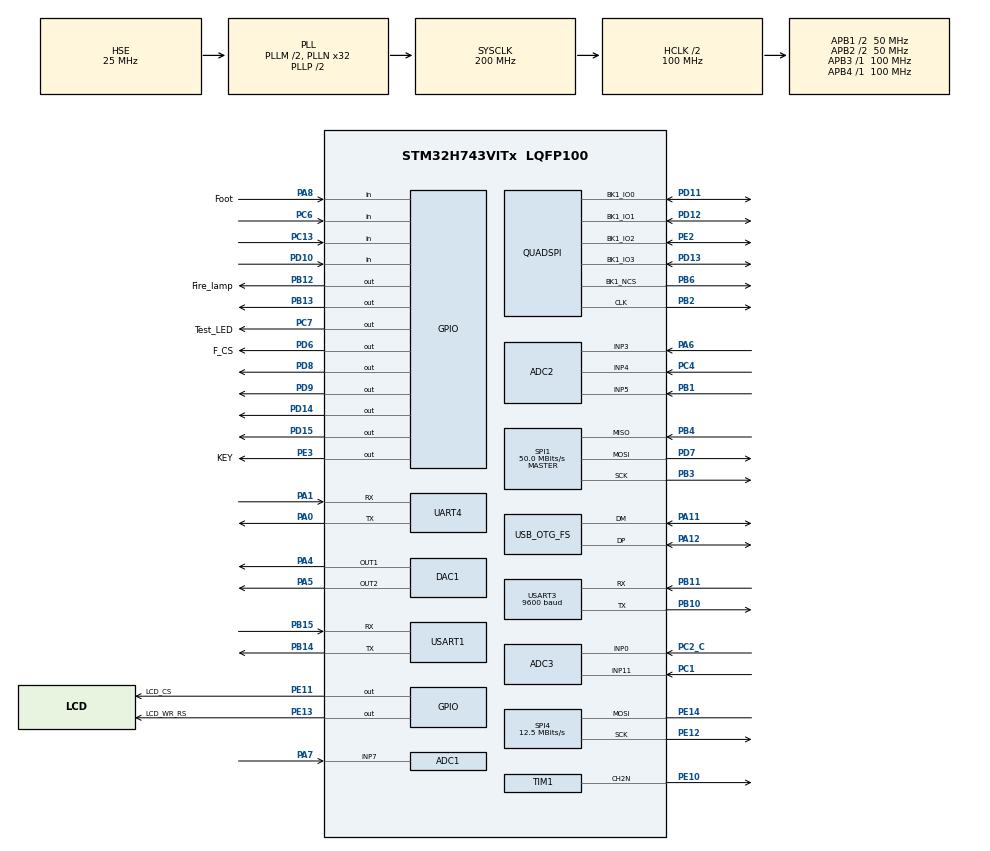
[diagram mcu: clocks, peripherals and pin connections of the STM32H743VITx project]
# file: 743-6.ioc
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ADC1.Channel-3\#ChannelRegularConversion=ADC_CHANNEL_7
ADC1.ClockPrescaler=ADC_CLOCK_ASYNC_DIV4
ADC1.NbrOfConversionFlag=1
ADC1.OffsetNumber-3\#ChannelRegularConversion=ADC_OFFSET_NONE
ADC1.OffsetSignedSaturation-3\#ChannelRegularConversion=DISABLE
ADC1.Rank-3\#ChannelRegularConversion=1
ADC1.SamplingTime-3\#ChannelRegularConversion=ADC_SAMPLETIME_1CYCLE_5
ADC1.master=1
ADC2.Channel-0\#ChannelRegularConversion=ADC_CHANNEL_3
ADC2.ClockPrescaler=ADC_CLOCK_ASYNC_DIV4
ADC2.NbrOfConversionFlag=1
ADC2.OffsetNumber-0\#ChannelRegularConversion=ADC_OFFSET_NONE
ADC2.OffsetSignedSaturation-0\#ChannelRegularConversion=DISABLE
ADC2.Rank-0\#ChannelRegularConversion=1
ADC2.SamplingTime-0\#ChannelRegularConversion=ADC_SAMPLETIME_1CYCLE_5
ADC3.Channel-1\#ChannelRegularConversion=ADC_CHANNEL_11
ADC3.ClockPrescaler=ADC_CLOCK_ASYNC_DIV4
ADC3.NbrOfConversionFlag=1
ADC3.OffsetNumber-1\#ChannelRegularConversion=ADC_OFFSET_NONE
ADC3.OffsetSignedSaturation-1\#ChannelRegularConversion=DISABLE
ADC3.Rank-1\#ChannelRegularConversion=1
ADC3.SamplingTime-1\#ChannelRegularConversion=ADC_SAMPLETIME_1CYCLE_5
DAC1.DAC_Channel-DAC_OUT1_ExtAndInt=DAC_CHANNEL_1
DAC1.DAC_Channel-DAC_OUT2_ExtAndInt=DAC_CHANNEL_2
FREERTOS.Tasks01=defaultTask,0,128,StartDefaultTask,Default,NULL,Dynamic,NULL,NULL;myTask02,0,256,StartTask02,Default,NULL,Dynamic,NULL,NULL;myTask03,0,128,StartTask03,Default,NULL,Dynamic,NULL,NULL;myTask04,0,128,StartTask04,Default,NULL,Dynamic,NULL,NULL;myTask05,0,128,StartTask05,Default,NULL,Dynamic,NULL,NULL;myTask06,0,128,StartTask06,Default,NULL,Dynamic,NULL,NULL;myTask07,0,128,StartTask07,Default,NULL,Dynamic,NULL,NULL;myTask08,0,128,StartTask08,Default,NULL,Dynamic,NULL,NULL
FREERTOS.configUSE_NEWLIB_REENTRANT=1
Mcu.Family=STM32H7
Mcu.Name=STM32H743VITx
Mcu.Package=LQFP100
NVIC.OTG_FS_IRQn=true\:5\:0\:true\:false\:true\:true\:false\:true
NVIC.PriorityGroup=NVIC_PRIORITYGROUP_4
NVIC.TIM17_IRQn=true\:15\:0\:false\:false\:true\:false\:false\:true
NVIC.TimeBase=TIM17_IRQn
NVIC.TimeBaseIP=TIM17
NVIC.UART4_IRQn=true\:5\:0\:false\:true\:true\:3\:true\:true\:true
NVIC.USART1_IRQn=true\:5\:0\:false\:true\:true\:1\:true\:true\:true
NVIC.USART3_IRQn=true\:5\:0\:false\:true\:true\:2\:true\:true\:true
PA0.Mode=Asynchronous
PA0.Signal=UART4_TX
PA1.Mode=Asynchronous
PA1.Signal=UART4_RX
PA11.Mode=Device_Only
PA11.Signal=USB_OTG_FS_DM
PA12.Mode=Device_Only
PA12.Signal=USB_OTG_FS_DP
PA13\ (JTMS/SWDIO).Mode=Serial_Wire
PA13\ (JTMS/SWDIO).Signal=DEBUG_JTMS-SWDIO
PA14\ (JTCK/SWCLK).Mode=Serial_Wire
PA14\ (JTCK/SWCLK).Signal=DEBUG_JTCK-SWCLK
PA4.Signal=COMP_DAC11_group
PA5.Signal=COMP_DAC12_group
PA6.Signal=ADCx_INP3
PA7.Signal=ADCx_INP7
PA8.GPIO_Label=Foot
PA8.Signal=GPIO_Input
PB1.Signal=ADCx_INP5
PB10.Mode=Asynchronous
PB10.Signal=USART3_TX
PB11.Mode=Asynchronous
PB11.Signal=USART3_RX
PB12.GPIO_Label=Fire_lamp
PB12.Signal=GPIO_Output
PB13.GPIO_PuPd=GPIO_PULLUP
PB13.Signal=GPIO_Output
PB14.Mode=Asynchronous
PB14.Signal=USART1_TX
PB15.Mode=Asynchronous
PB15.Signal=USART1_RX
PB2.GPIO_Speed=GPIO_SPEED_FREQ_VERY_HIGH
PB2.Mode=Single Bank 1
PB2.Signal=QUADSPI_CLK
PB3\ (JTDO/TRACESWO).GPIO_Speed=GPIO_SPEED_FREQ_MEDIUM
PB3\ (JTDO/TRACESWO).Mode=Full_Duplex_Master
PB3\ (JTDO/TRACESWO).Signal=SPI1_SCK
PB4\ (NJTRST).GPIO_Speed=GPIO_SPEED_FREQ_MEDIUM
PB4\ (NJTRST).Mode=Full_Duplex_Master
PB4\ (NJTRST).Signal=SPI1_MISO
PB6.GPIO_FM6=SYSCFG_PMCR_I2C_PB6_FMP
PB6.GPIO_Speed=GPIO_SPEED_FREQ_VERY_HIGH
PB6.Mode=Single Bank 1
PB6.Signal=QUADSPI_BK1_NCS
PC1.Signal=ADCx_INP11
PC10.Signal=SDMMC1_D2
PC11.Signal=SDMMC1_D3
PC12.Signal=SDMMC1_CK
PC13.Signal=GPIO_Input
PC14-OSC32_IN\ (OSC32_IN).Mode=LSE-External-Oscillator
PC14-OSC32_IN\ (OSC32_IN).Signal=RCC_OSC32_IN
PC15-OSC32_OUT\ (OSC32_OUT).Mode=LSE-External-Oscillator
PC15-OSC32_OUT\ (OSC32_OUT).Signal=RCC_OSC32_OUT
PC2_C.Mode=IN0-Single-Ended
PC2_C.Signal=ADC3_INP0
PC4.Signal=ADCx_INP4
PC6.Signal=GPIO_Input
PC7.GPIO_Label=Test_LED
PC7.GPIO_PuPd=GPIO_PULLDOWN
PC7.PinState=GPIO_PIN_RESET
PC7.Signal=GPIO_Output
PC8.Signal=SDMMC1_D0
PC9.Signal=SDMMC1_D1
PD10.Signal=GPIO_Input
PD11.GPIO_Speed=GPIO_SPEED_FREQ_VERY_HIGH
PD11.Mode=Single Bank 1
PD11.Signal=QUADSPI_BK1_IO0
PD12.GPIO_Speed=GPIO_SPEED_FREQ_VERY_HIGH
PD12.Mode=Single Bank 1
PD12.Signal=QUADSPI_BK1_IO1
PD13.GPIO_Speed=GPIO_SPEED_FREQ_VERY_HIGH
PD13.Mode=Single Bank 1
PD13.Signal=QUADSPI_BK1_IO3
PD14.Signal=GPIO_Output
PD15.Signal=GPIO_Output
PD2.Signal=SDMMC1_CMD
PD6.GPIO_Label=F_CS
PD6.GPIO_Speed=GPIO_SPEED_FREQ_VERY_HIGH
PD6.PinState=GPIO_PIN_SET
PD6.Signal=GPIO_Output
PD7.GPIO_Speed=GPIO_SPEED_FREQ_MEDIUM
PD7.Mode=Full_Duplex_Master
PD7.Signal=SPI1_MOSI
PD8.Signal=GPIO_Output
PD9.Signal=GPIO_Output
PE10.Mode=PWM Generation2 CH2N
PE10.Signal=TIM1_CH2N
PE11.GPIO_Label=LCD_CS
PE11.GPIO_Speed=GPIO_SPEED_FREQ_VERY_HIGH
PE11.PinState=GPIO_PIN_SET
PE11.Signal=GPIO_Output
PE12.GPIO_Speed=GPIO_SPEED_FREQ_MEDIUM
PE12.Mode=Simplex_Bidirectional_Master
PE12.Signal=SPI4_SCK
PE13.GPIO_Label=LCD_WR_RS
PE13.GPIO_Speed=GPIO_SPEED_FREQ_VERY_HIGH
PE13.PinState=GPIO_PIN_SET
PE13.Signal=GPIO_Output
PE14.GPIO_Speed=GPIO_SPEED_FREQ_MEDIUM
PE14.Mode=Simplex_Bidirectional_Master
PE14.Signal=SPI4_MOSI
PE2.GPIO_Speed=GPIO_SPEED_FREQ_VERY_HIGH
PE2.Mode=Single Bank 1
PE2.Signal=QUADSPI_BK1_IO2
PE3.GPIO_Label=KEY
PE3.Signal=GPIO_Output
PH0-OSC_IN\ (PH0).Mode=HSE-External-Oscillator
PH0-OSC_IN\ (PH0).Signal=RCC_OSC_IN
PH1-OSC_OUT\ (PH1).Mode=HSE-External-Oscillator
PH1-OSC_OUT\ (PH1).Signal=RCC_OSC_OUT
ProjectManager.HeapSize=0x2000
ProjectManager.StackSize=0x2000
ProjectManager.TargetToolchain=STM32CubeIDE
QUADSPI.ChipSelectHighTime=QSPI_CS_HIGH_TIME_3_CYCLE
QUADSPI.ClockMode=QSPI_CLOCK_MODE_3
QUADSPI.ClockPrescaler=2-1
QUADSPI.FlashSize=23-1
QUADSPI.SampleShifting=QSPI_SAMPLE_SHIFTING_HALFCYCLE
RCC.ADCFreq_Value=37500000
RCC.APB1Freq_Value=50000000
RCC.APB2Freq_Value=50000000
RCC.APB3Freq_Value=100000000
RCC.APB4Freq_Value=100000000
RCC.CortexFreq_Value=200000000
RCC.D2PPRE1=RCC_APB1_DIV2
RCC.D2PPRE2=RCC_APB2_DIV2
RCC.DIVM1=2
RCC.DIVM2=2
RCC.DIVM3=2
RCC.DIVN1=32
RCC.DIVN2=12
RCC.DIVN3=12
RCC.DIVP2=4
RCC.DIVP3=5
RCC.DIVQ1=4
RCC.DIVQ3=3
RCC.HCLKFreq_Value=100000000
RCC.HPRE=RCC_HCLK_DIV2
RCC.PLL2FRACN=0
RCC.PLL3FRACN=0
RCC.PLLFRACN=0
RCC.PLLSourceVirtual=RCC_PLLSOURCE_HSE
RCC.RTCClockSelection=RCC_RTCCLKSOURCE_LSE
RCC.SYSCLKFreq_VALUE=200000000
RCC.SYSCLKSource=RCC_SYSCLKSOURCE_PLLCLK
RCC.Spi45ClockSelection=RCC_SPI45CLKSOURCE_PLL3
RCC.SupplySource=PWR_LDO_SUPPLY
RCC.USBCLockSelection=RCC_USBCLKSOURCE_PLL3
RCC.USBFreq_Value=50000000
RTC.HourFormat=RTC_HOURFORMAT_12
SH.ADCx_INP11.0=ADC3_INP11,IN11-Single-Ended
SH.ADCx_INP3.0=ADC2_INP3,IN3-Single-Ended
SH.ADCx_INP4.0=ADC2_INP4,IN4-Single-Ended
SH.ADCx_INP5.0=ADC2_INP5,IN5-Single-Ended
SH.ADCx_INP7.0=ADC1_INP7,IN7-Single-Ended
SH.COMP_DAC11_group.0=DAC1_OUT1,DAC_OUT1_ExtAndInt
SH.COMP_DAC12_group.0=DAC1_OUT2,DAC_OUT2_ExtAndInt
SPI1.BaudRatePrescaler=SPI_BAUDRATEPRESCALER_2
SPI1.CLKPolarity=SPI_POLARITY_LOW
SPI1.CalculateBaudRate=50.0 MBits/s
SPI1.DataSize=SPI_DATASIZE_8BIT
SPI1.Direction=SPI_DIRECTION_2LINES
SPI1.Mode=SPI_MODE_MASTER
SPI1.VirtualType=VM_MASTER
SPI4.BaudRatePrescaler=SPI_BAUDRATEPRESCALER_4
SPI4.CLKPolarity=SPI_POLARITY_LOW
SPI4.CalculateBaudRate=12.5 MBits/s
SPI4.DataSize=SPI_DATASIZE_8BIT
SPI4.Direction=SPI_DIRECTION_1LINE
SPI4.Mode=SPI_MODE_MASTER
SPI4.VirtualType=VM_MASTER
TIM1.Channel-PWM\ Generation2\ CH2N=TIM_CHANNEL_2
TIM1.OCNPolarity_2=TIM_OCNPOLARITY_LOW
TIM1.Period=100-1
TIM1.Prescaler=120-1
USART1.VirtualMode-Asynchronous=VM_ASYNC
USART3.BaudRate=9600
USART3.VirtualMode-Asynchronous=VM_ASYNC
USB_DEVICE.CLASS_NAME_FS=CDC
USB_DEVICE.VirtualMode-CDC_FS=Cdc
USB_DEVICE.VirtualModeFS=Cdc_FS
USB_OTG_FS.VirtualMode=Device_Only
USB_OTG_FS.dma_enable=ENABLE
VP_FREERTOS_VS_CMSIS_V1.Mode=CMSIS_V1
VP_RTC_VS_RTC_Activate.Mode=RTC_Enabled
VP_RTC_VS_RTC_Calendar.Mode=RTC_Calendar
VP_SYS_VS_tim17.Mode=TIM17
VP_USB_DEVICE_VS_USB_DEVICE_CDC_FS.Mode=CDC_FS
board=custom

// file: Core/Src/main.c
/* USER CODE BEGIN Header */
/**
  ******************************************************************************
  * @file           : main.c
  * @brief          : Main program body
  ******************************************************************************
  * @attention
  *
  * <h2><center>&copy; Copyright (c) 2021 STMicroelectronics.
  * All rights reserved.</center></h2>
  *
  * This software component is licensed by ST under Ultimate Liberty license
  * SLA0044, the "License"; You may not use this file except in compliance with
  * the License. You may obtain a copy of the License at:
  *                             www.st.com/SLA0044
  *
  ******************************************************************************
  */
/* USER CODE END Header */
#include "main.h"
#include "cmsis_os.h"
#include "adc.h"
#include "dac.h"
#include "rtc.h"
#include "spi.h"
#include "tim.h"
#include "usart.h"
#include "usb_device.h"
#include "gpio.h"

/* USER CODE BEGIN Includes */
//#include "lcd.h"
#include <stdio.h>        // printf ?��?��?���????? ?��?��
#include <usbd_cdc_if.h>  // USB ?��?�� ?��?�� ?��?��?���????? ?��?��
#include "sound.h"
#include "w25qxx_qspi.h"

#include <time.h>
#include <stdlib.h>
#include <string.h>
//#include "parameter.h"
//#include "dfplayer_mini.h"
/* USER CODE END Includes */

/* USER CODE BEGIN PTD */
//void init_uart(uart_t *u);

/* USER CODE END PTD */

void SystemClock_Config(void);
void PeriphCommonClock_Config(void);
void MX_FREERTOS_Init(void);
static void MX_NVIC_Init(void);
/* USER CODE BEGIN PFP */

//printf, putchar, puts ?��?��?�� ?��출되?�� ?��?��
int _write(int fd, char *str, int len) {
	CDC_Transmit_FS((uint8_t*)str, len);
	return len;
}

/*
int _write(int file, unsigned char* p, int len)
{
	HAL_StatusTypeDef status= HAL_UART_Transmit(&huart3, p, len,100);
	return(status == HAL_OK? len :0);
}
*/
/* USER CODE END PFP */

/* USER CODE BEGIN 0 */
static void CPU_CACHE_Enable(void)
{
  /* Enable I-Cache */
  SCB_EnableICache();

  /* Enable D-Cache */
  SCB_EnableDCache();
}

static void LED_Blink(uint32_t Hdelay,uint32_t Ldelay)
{
	HAL_GPIO_WritePin(KEY_GPIO_Port,KEY_Pin,GPIO_PIN_SET);
	HAL_Delay(Hdelay - 1);
	HAL_GPIO_WritePin(KEY_GPIO_Port,KEY_Pin,GPIO_PIN_RESET);
	HAL_Delay(Ldelay-1);
}

void init_uart(uart_t *u)
{
	u->head = 0;
	u->tail = 0;
	memset(u->buffer, 0, sizeof(u->buffer));
}

/**
  * @brief  Get the current time and date.
  * @param
  * @retval None
  */

uint8_t wdata[4096] = {0};
uint8_t rdata[4096] = {0};
/* USER CODE END 0 */

int main(void)
{
  /* USER CODE BEGIN 1 */

	HAL_Init();

#ifdef W25Qxx
  SCB->VTOR = QSPI_BASE;
#endif
//MPU_Config();
//CPU_CACHE_Enable();

  /* USER CODE END 1 */

  /* MCU Configuration--------------------------------------------------------*/

  /* Reset of all peripherals, Initializes the Flash interface and the Systick. */
  HAL_Init();

  /* Configure the system clock */
  SystemClock_Config();

/* Configure the peripherals common clocks */
  PeriphCommonClock_Config();

  /* USER CODE BEGIN SysInit */
	uint8_t text[20];
	RTC_DateTypeDef sdatestructureget  ;
	RTC_TimeTypeDef stimestructureget  ;
  /* USER CODE END SysInit */

  /* Initialize all configured peripherals */
  MX_GPIO_Init();
  MX_RTC_Init();
  MX_SPI1_Init();
  MX_SPI4_Init();
  MX_TIM1_Init();
  MX_UART4_Init();
  MX_USART1_UART_Init();
  MX_USART3_UART_Init();
  MX_ADC3_Init();
  MX_ADC2_Init();
  MX_DAC1_Init();
  MX_ADC1_Init();

  /* Initialize interrupts */
  MX_NVIC_Init();
  /* USER CODE BEGIN 2 */
	init_uart(&uart_1);
	init_uart(&uart_4);
	HAL_UART_Receive_IT(&huart1, &rx1_data, 1);
	HAL_UART_Receive_IT(&huart4, &rx4_data, 1);

	printf("Hello \n\r");

	DF_Init(15);
	DF_PlayFromStart();
	DF_Volume(15);

	  w25qxx_Init();

	  for(int i=100;i>0;i--){
	  	wdata[i] = i;
	  }
	  //W25qxx_Write(wdata, 0, 100);

	  W25qxx_EraseSector(0);
	  W25qxx_PageProgram(wdata, 0, 100);
	  W25qxx_Read(rdata, 0, 100);

 	LCD_Test();

  /* USER CODE END 2 */

  /* Call init function for freertos objects (in freertos.c) */
  MX_FREERTOS_Init();
  /* Start scheduler */
  osKernelStart();

  /* We should never get here as control is now taken by the scheduler */
  /* Infinite loop */
  while (1)
  {

  }
}

void SystemClock_Config(void)
{
  RCC_OscInitTypeDef RCC_OscInitStruct = {0};
  RCC_ClkInitTypeDef RCC_ClkInitStruct = {0};

  /** Supply configuration update enable
  */
  HAL_PWREx_ConfigSupply(PWR_LDO_SUPPLY);
  /** Configure the main internal regulator output voltage
  */
  __HAL_PWR_VOLTAGESCALING_CONFIG(PWR_REGULATOR_VOLTAGE_SCALE3);

  while(!__HAL_PWR_GET_FLAG(PWR_FLAG_VOSRDY)) {}
  /** Configure LSE Drive Capability
  */
  HAL_PWR_EnableBkUpAccess();
  __HAL_RCC_LSEDRIVE_CONFIG(RCC_LSEDRIVE_LOW);
  /** Macro to configure the PLL clock source
  */
  __HAL_RCC_PLL_PLLSOURCE_CONFIG(RCC_PLLSOURCE_HSE);
  /** Initializes the RCC Oscillators according to the specified parameters
  * in the RCC_OscInitTypeDef structure.
  */
  RCC_OscInitStruct.OscillatorType = RCC_OSCILLATORTYPE_HSE|RCC_OSCILLATORTYPE_LSE;
  RCC_OscInitStruct.HSEState = RCC_HSE_ON;
  RCC_OscInitStruct.LSEState = RCC_LSE_ON;
  RCC_OscInitStruct.PLL.PLLState = RCC_PLL_ON;
  RCC_OscInitStruct.PLL.PLLSource = RCC_PLLSOURCE_HSE;
  RCC_OscInitStruct.PLL.PLLM = 2;
  RCC_OscInitStruct.PLL.PLLN = 32;
  RCC_OscInitStruct.PLL.PLLP = 2;
  RCC_OscInitStruct.PLL.PLLQ = 4;
  RCC_OscInitStruct.PLL.PLLR = 2;
  RCC_OscInitStruct.PLL.PLLRGE = RCC_PLL1VCIRANGE_3;
  RCC_OscInitStruct.PLL.PLLVCOSEL = RCC_PLL1VCOWIDE;
  RCC_OscInitStruct.PLL.PLLFRACN = 0;
  if (HAL_RCC_OscConfig(&RCC_OscInitStruct) != HAL_OK)
  {
    Error_Handler();
  }
  /** Initializes the CPU, AHB and APB buses clocks
  */
  RCC_ClkInitStruct.ClockType = RCC_CLOCKTYPE_HCLK|RCC_CLOCKTYPE_SYSCLK
                              |RCC_CLOCKTYPE_PCLK1|RCC_CLOCKTYPE_PCLK2
                              |RCC_CLOCKTYPE_D3PCLK1|RCC_CLOCKTYPE_D1PCLK1;
  RCC_ClkInitStruct.SYSCLKSource = RCC_SYSCLKSOURCE_PLLCLK;
  RCC_ClkInitStruct.SYSCLKDivider = RCC_SYSCLK_DIV1;
  RCC_ClkInitStruct.AHBCLKDivider = RCC_HCLK_DIV2;
  RCC_ClkInitStruct.APB3CLKDivider = RCC_APB3_DIV1;
  RCC_ClkInitStruct.APB1CLKDivider = RCC_APB1_DIV2;
  RCC_ClkInitStruct.APB2CLKDivider = RCC_APB2_DIV2;
  RCC_ClkInitStruct.APB4CLKDivider = RCC_APB4_DIV1;

  if (HAL_RCC_ClockConfig(&RCC_ClkInitStruct, FLASH_LATENCY_2) != HAL_OK)
  {
    Error_Handler();
  }
}

void PeriphCommonClock_Config(void)
{
  RCC_PeriphCLKInitTypeDef PeriphClkInitStruct = {0};

  /** Initializes the peripherals clock
  */
  PeriphClkInitStruct.PeriphClockSelection = RCC_PERIPHCLK_USB|RCC_PERIPHCLK_ADC
                              |RCC_PERIPHCLK_SPI4;
  PeriphClkInitStruct.PLL2.PLL2M = 2;
  PeriphClkInitStruct.PLL2.PLL2N = 12;
  PeriphClkInitStruct.PLL2.PLL2P = 4;
  PeriphClkInitStruct.PLL2.PLL2Q = 2;
  PeriphClkInitStruct.PLL2.PLL2R = 2;
  PeriphClkInitStruct.PLL2.PLL2RGE = RCC_PLL2VCIRANGE_3;
  PeriphClkInitStruct.PLL2.PLL2VCOSEL = RCC_PLL2VCOMEDIUM;
  PeriphClkInitStruct.PLL2.PLL2FRACN = 0;
  PeriphClkInitStruct.PLL3.PLL3M = 2;
  PeriphClkInitStruct.PLL3.PLL3N = 12;
  PeriphClkInitStruct.PLL3.PLL3P = 5;
  PeriphClkInitStruct.PLL3.PLL3Q = 3;
  PeriphClkInitStruct.PLL3.PLL3R = 2;
  PeriphClkInitStruct.PLL3.PLL3RGE = RCC_PLL3VCIRANGE_3;
  PeriphClkInitStruct.PLL3.PLL3VCOSEL = RCC_PLL3VCOMEDIUM;
  PeriphClkInitStruct.PLL3.PLL3FRACN = 0;
  PeriphClkInitStruct.Spi45ClockSelection = RCC_SPI45CLKSOURCE_PLL3;
  PeriphClkInitStruct.UsbClockSelection = RCC_USBCLKSOURCE_PLL3;
  PeriphClkInitStruct.AdcClockSelection = RCC_ADCCLKSOURCE_PLL2;
  if (HAL_RCCEx_PeriphCLKConfig(&PeriphClkInitStruct) != HAL_OK)
  {
    Error_Handler();
  }
}

/**
  * @brief NVIC Configuration.
  * @retval None
  */
static void MX_NVIC_Init(void)
{
  /* USART1_IRQn interrupt configuration */
  HAL_NVIC_SetPriority(USART1_IRQn, 5, 0);
  HAL_NVIC_EnableIRQ(USART1_IRQn);
  /* USART3_IRQn interrupt configuration */
  HAL_NVIC_SetPriority(USART3_IRQn, 5, 0);
  HAL_NVIC_EnableIRQ(USART3_IRQn);
  /* UART4_IRQn interrupt configuration */
  HAL_NVIC_SetPriority(UART4_IRQn, 5, 0);
  HAL_NVIC_EnableIRQ(UART4_IRQn);
}

void HAL_TIM_PeriodElapsedCallback(TIM_HandleTypeDef *htim)
{
  if (htim->Instance == TIM17) {
    HAL_IncTick();
  }
}

void Error_Handler(void)
{
  __disable_irq();
  while (1)
  {
  }
}

/************************ (C) COPYRIGHT STMicroelectronics *****END OF FILE****/

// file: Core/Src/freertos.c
/* USER CODE BEGIN Header */
/**
  ******************************************************************************
  * File Name          : freertos.c
  * Description        : Code for freertos applications
  ******************************************************************************
  * @attention
  *
  * <h2><center>&copy; Copyright (c) 2021 STMicroelectronics.
  * All rights reserved.</center></h2>
  *
  * This software component is licensed by ST under Ultimate Liberty license
  * SLA0044, the "License"; You may not use this file except in compliance with
  * the License. You may obtain a copy of the License at:
  *                             www.st.com/SLA0044
  *
  ******************************************************************************
  */
/* USER CODE END Header */

#include "FreeRTOS.h"
#include "task.h"
#include "main.h"
#include "cmsis_os.h"

/* USER CODE BEGIN Includes */
#include "rtc.h"
#include "usart.h"
#include "parameter.h"
#include "hardware.h"
#include "sound.h"
//#include "stm32h7xx_hal_rtc.h"

/* USER CODE END Includes */

/* USER CODE BEGIN PTD */
	uint8_t text[20];
	RTC_DateTypeDef sdatestructureget  ;
	RTC_TimeTypeDef stimestructureget  ;
/* USER CODE END PTD */

/* USER CODE BEGIN PD */

	void push(uart_t *u, uint8_t data);
	uint8_t pop(uart_t *u);
	uint8_t isEmpty(uart_t *u);
	float ttt;
/* USER CODE END PD */

osThreadId defaultTaskHandle;
osThreadId myTask02Handle;
osThreadId myTask03Handle;
osThreadId myTask04Handle;
osThreadId myTask05Handle;
osThreadId myTask06Handle;
osThreadId myTask07Handle;
osThreadId myTask08Handle;

/* USER CODE BEGIN FunctionPrototypes */

static void RTC_CalendarShow(RTC_DateTypeDef *sdatestructureget,RTC_TimeTypeDef *stimestructureget)
{
   /* Both time and date must be obtained or RTC cannot be read next time */
  /* Get the RTC current Time */
  HAL_RTC_GetTime(&hrtc, stimestructureget, RTC_FORMAT_BIN);
  /* Get the RTC current Date */
  HAL_RTC_GetDate(&hrtc, sdatestructureget, RTC_FORMAT_BIN);
}

void clear_pw_circle(void)
{
	// Clear passwd counter
		GUI_key0[7] = 0;
	HAL_UART_Transmit(&huart1, GUI_key0, sizeof(GUI_key0), 100);
	GUI_key1[7] = 0;
	HAL_UART_Transmit(&huart1, GUI_key1, sizeof(GUI_key1), 100);
	GUI_key2[7] = 0;
	HAL_UART_Transmit(&huart1, GUI_key2, sizeof(GUI_key2), 100);
	GUI_key3[7] = 0;
	HAL_UART_Transmit(&huart1, GUI_key3, sizeof(GUI_key3), 100);
}

char  passwd[4], passwd_1[4]={1,2,3,4};
uint8_t passwd_count  ;
void passwd_verify(void)
{
	int8_t passwd_OK;

			switch(passwd_count){
			case(0):
				GUI_key0[7] = 1;
				HAL_UART_Transmit(&huart1, GUI_key0, sizeof(GUI_key0), 100);
				break;
			case(1):
				GUI_key1[7] = 1;
				HAL_UART_Transmit(&huart1, GUI_key1, sizeof(GUI_key1), 100);
				break;
			case(2):
				GUI_key2[7] = 1;
				HAL_UART_Transmit(&huart1, GUI_key2, sizeof(GUI_key2), 100);
				break;
			case(3):
				GUI_key3[7] = 1;
				HAL_UART_Transmit(&huart1, GUI_key3, sizeof(GUI_key3), 100);
				break;
			default:
				;
			}

			passwd_count++;

			if(passwd_count == 4){
				//passwd_count = 0;

				// Check pw is right or not
				for(int i=0;i<4;i++){
					if(passwd[i] == passwd_1[i]){
						passwd_OK++;
					}
					else
						passwd_OK--;
				}
			}

			if(passwd_OK == 4){
				DF_Play(S_ready);  //Ready it is OK();
				osDelay(100);
				passwd_count = 0;
				clear_pw_circle();
				HAL_UART_Transmit(&huart1, GUI_main, sizeof(GUI_main), 100);//Call main page

				HAL_GPIO_WritePin(GPIOB, GPIO_PIN_13, GPIO_PIN_SET);
		 	}
 	 		else{
		  	 	DF_Play(S_Beek);  //Ready it is no();
		  	 	HAL_GPIO_WritePin(GPIOB, GPIO_PIN_13, GPIO_PIN_RESET);
		 	}

			if((passwd_count == 4)&&(passwd_OK != 4)){
				 DF_Play(S_boook);  //Ready it is OK();
				osDelay(100);
				passwd_count = 0;
				clear_pw_circle();
			}

			passwd_OK = 0;
}

void GUI_1400(void)
{
	if (!Ready)
	{ //STOP
		HAL_UART_Transmit(&huart1, GUI_stop, sizeof(GUI_stop), 100);
		Ready = 1;
		DF_Play(S_ready);  //Ready
		osDelay(10);
		HAL_GPIO_WritePin(GPIOB, GPIO_PIN_14, GPIO_PIN_RESET); //Interloc
		HAL_GPIO_WritePin(GPIOC, GPIO_PIN_0, GPIO_PIN_SET); // AKELA pointer
	}
	else if (Ready)
	{ //READY
		Ready = 0;
		DF_Play(S_stop);  //Stop
		osDelay(10);
//				// GUI_ready2stop();
	}
}

void GUI_1296(void)
{
	DF_Play(S_Beek);
	Monitor = 0;

	Stamp = 1;
	DF_Play(S_stamp);  //Stamp
	//  EEPROM_Read(Last_mode);  //save current mode
	// show_parameter_stamp();
	//  show_ST_key_value();
	// // GUI_ready2stop(); // clear "ready" state

	GUI_mon_Laser_ON[7] = 1; //Laser OFF
	HAL_UART_Transmit(&huart1, GUI_mon_Laser_ON, sizeof(GUI_mon_Laser_ON), 100);

	// Stop "Laser ON" over Monitor mode
//	HAL_DAC_SetValue(&hdac, DAC_CHANNEL_1, DAC_ALIGN_12B_R, 0);
//	HAL_DAC_Stop(&hdac, DAC_CHANNEL_1);
	HAL_GPIO_WritePin( GPIOB, GPIO_PIN_14, GPIO_PIN_SET); // Interlock stop
	HAL_GPIO_WritePin( GPIOA, GPIO_PIN_7, GPIO_PIN_RESET); // Enable Stop
	HAL_GPIO_WritePin( GPIOB, GPIO_PIN_2, GPIO_PIN_RESET); //Fire lamp Off

	GUI_sum_mode[7] = 1;
	HAL_UART_Transmit(&huart1, GUI_sum_mode,sizeof(GUI_sum_mode), 100);

	vTaskSuspend(myTask05Handle);	 // STOP DefaultTask
}

void GUI_1298(void)
{
	DF_Play(S_Beek);
	Monitor = true;
	// // GUI_ready2stop(); // clear "ready" state

	GUI_mon_Laser_ON[7] = 1;  //Laser OFF
	HAL_UART_Transmit(&huart1, GUI_mon_Laser_ON, sizeof(GUI_mon_Laser_ON), 100);

	GUI_mon_power[6] = 0;     //Start monitor page with Power = 0
	GUI_mon_power[7] = 0;
	HAL_UART_Transmit(&huart1, GUI_mon_power, sizeof(GUI_mon_power),100);//show power0~6

	// Stop "Laser ON" over Monitor mode
//		HAL_DAC_SetValue(&hdac, DAC_CHANNEL_1, DAC_ALIGN_12B_R, 0);
//		HAL_DAC_Stop(&hdac, DAC_CHANNEL_1);
	HAL_GPIO_WritePin( GPIOB, GPIO_PIN_14, GPIO_PIN_SET); // Interlock stop
	HAL_GPIO_WritePin( GPIOA, GPIO_PIN_7, GPIO_PIN_RESET); // Enable Stop
	HAL_GPIO_WritePin( GPIOB, GPIO_PIN_2, GPIO_PIN_RESET); //Fire lamp Off

	vTaskResume(myTask05Handle);   // Strat Monitoring Task(5)
}

void GUI_1340(void)
{
	if (!Laser_ON)
	{
		GUI_mon_Laser_ON[7] = 0;
		HAL_UART_Transmit(&huart1, GUI_mon_Laser_ON, sizeof(GUI_mon_Laser_ON), 100);
		Laser_ON = 1;
		DF_Play(S_ready);  //Ready
		osDelay(10);

		HAL_GPIO_WritePin(GPIOB, GPIO_PIN_14, GPIO_PIN_RESET); //Interloc
		HAL_GPIO_WritePin(GPIOC, GPIO_PIN_0, GPIO_PIN_SET); // AKELA pointer

	}
	else
	{
		GUI_mon_Laser_ON[7] = 1;
		HAL_UART_Transmit(&huart1, GUI_mon_Laser_ON, sizeof(GUI_mon_Laser_ON), 100);
		Laser_ON = 0;
		DF_Play(S_stop);  //Stop
		osDelay(10);

		HAL_GPIO_WritePin( GPIOB, GPIO_PIN_14, GPIO_PIN_SET); //Interlock on
		HAL_GPIO_WritePin( GPIOA, GPIO_PIN_7, 0); // Enable stop
		HAL_GPIO_WritePin( GPIOC, GPIO_PIN_0, 0); // AKELA pointer Off
	}
}

void GUI_1345(void)
{
	DF_Play(S_Beek);
	// 5*330 = 1650:최고 DAC �???????, ?��?�� HP?��?��?�� CW�??????? 5 W 출력?��, 330?? Cut&Try�??????? ?��?? �???????
	Power_DAC = ((Rx1_Buffer[7] << 8) + Rx1_Buffer[8])*330;  //0~2100
	GUI_mon_power[6] = Rx1_Buffer[7];  //Last_mpower_high
	GUI_mon_power[7] = Rx1_Buffer[8];  //Last_mpower_low (real)
//	HAL_UART_Transmit(&huart1, GUI_mon_power, sizeof(GUI_mon_power),100);//show power0~5

	//  EEPROM_Write(Last_mon_power_high, GUI_mon_power[6]);
	//  EEPROM_Write(Last_mon_power_low, GUI_mon_power[7]);

}

void GUI_1602(void)
{
	if (Sound)
	{
		GUI_sound[7] = 0;
		HAL_UART_Transmit(&huart1, GUI_sound, sizeof(GUI_sound),100);
		Sound = 0;
		DF_Play(S_sound);  //sound
		//  EEPROM_Write( Last_sound, Sound);
		DF_Volume(15);
	}
	else
	{
		GUI_sound[7] = 1;
		HAL_UART_Transmit(&huart1, GUI_sound, sizeof(GUI_sound),100);
		Sound = true;
		DF_Play(S_mute);  //mute
		//  EEPROM_Write( Last_sound, Sound);

		DF_Volume(0);
	}
//  EEPROM_Write( Last_sound, Sound);  //save current mode
}

void GUI_1603(void)
{
	if (Hand_foot)
	{
		GUI_foot[7] = 0;
		HAL_UART_Transmit(&huart1, GUI_foot, sizeof(GUI_foot), 100);
		Hand_foot = 0;
		DF_Play(S_hand);  //hand

		//  EEPROM_Write( Last_Hand_foot, Hand_foot);
	}
	else
	{
		GUI_foot[7] = 1;
		HAL_UART_Transmit(&huart1, GUI_foot, sizeof(GUI_foot), 100);
		Hand_foot = true;
		DF_Play(S_foot); //foot

		//  EEPROM_Write( Last_Hand_foot, Hand_foot);
	}
}

void GUI_1606(void)
{
	if (Count_energy)
	{
    	Count_energy = 0;
		DF_Play(S_total_energy);
		GUI_sum_mode[7] = 0;
		HAL_UART_Transmit(&huart1, GUI_sum_mode,sizeof(GUI_sum_mode), 100);
		//  EEPROM_Write( Last_Count_energy, Count_energy);
	}
	else
	{
		Count_energy = 1;
		DF_Play(S_total_count);
		GUI_sum_mode[7] = 1;
		HAL_UART_Transmit(&huart1, GUI_sum_mode,sizeof(GUI_sum_mode), 100);
		//  EEPROM_Write( Last_Count_energy, Count_energy);
	}
}

// RTC time setup from DWIN time input
void RTC_13A0(void)
{

}
/* USER CODE END FunctionPrototypes */

void StartDefaultTask(void const * argument);
void StartTask02(void const * argument);
void StartTask03(void const * argument);
void StartTask04(void const * argument);
void StartTask05(void const * argument);
void StartTask06(void const * argument);
void StartTask07(void const * argument);
void StartTask08(void const * argument);

extern void MX_USB_DEVICE_Init(void);
void MX_FREERTOS_Init(void); /* (MISRA C 2004 rule 8.1) */

/* GetIdleTaskMemory prototype (linked to static allocation support) */
void vApplicationGetIdleTaskMemory( StaticTask_t **ppxIdleTaskTCBBuffer, StackType_t **ppxIdleTaskStackBuffer, uint32_t *pulIdleTaskStackSize );

/* USER CODE BEGIN GET_IDLE_TASK_MEMORY */
static StaticTask_t xIdleTaskTCBBuffer;
static StackType_t xIdleStack[configMINIMAL_STACK_SIZE];

void vApplicationGetIdleTaskMemory( StaticTask_t **ppxIdleTaskTCBBuffer, StackType_t **ppxIdleTaskStackBuffer, uint32_t *pulIdleTaskStackSize )
{
  *ppxIdleTaskTCBBuffer = &xIdleTaskTCBBuffer;
  *ppxIdleTaskStackBuffer = &xIdleStack[0];
  *pulIdleTaskStackSize = configMINIMAL_STACK_SIZE;
  /* place for user code */
}

/* USER CODE END GET_IDLE_TASK_MEMORY */

void MX_FREERTOS_Init(void) {

  /* Create the thread(s) */
  /* definition and creation of defaultTask */
  osThreadDef(defaultTask, StartDefaultTask, osPriorityNormal, 0, 128);
  defaultTaskHandle = osThreadCreate(osThread(defaultTask), NULL);

  /* definition and creation of myTask02 */
  osThreadDef(myTask02, StartTask02, osPriorityNormal, 0, 256);
  myTask02Handle = osThreadCreate(osThread(myTask02), NULL);

  /* definition and creation of myTask03 */
  osThreadDef(myTask03, StartTask03, osPriorityNormal, 0, 128);
  myTask03Handle = osThreadCreate(osThread(myTask03), NULL);

  /* definition and creation of myTask04 */
  osThreadDef(myTask04, StartTask04, osPriorityNormal, 0, 128);
  myTask04Handle = osThreadCreate(osThread(myTask04), NULL);

  /* definition and creation of myTask05 */
  osThreadDef(myTask05, StartTask05, osPriorityNormal, 0, 128);
  myTask05Handle = osThreadCreate(osThread(myTask05), NULL);

  /* definition and creation of myTask06 */
  osThreadDef(myTask06, StartTask06, osPriorityNormal, 0, 128);
  myTask06Handle = osThreadCreate(osThread(myTask06), NULL);

  /* definition and creation of myTask07 */
  osThreadDef(myTask07, StartTask07, osPriorityNormal, 0, 128);
  myTask07Handle = osThreadCreate(osThread(myTask07), NULL);

  /* definition and creation of myTask08 */
  osThreadDef(myTask08, StartTask08, osPriorityNormal, 0, 128);
  myTask08Handle = osThreadCreate(osThread(myTask08), NULL);

}

void StartDefaultTask(void const * argument)
{
  /* init code for USB_DEVICE */
  MX_USB_DEVICE_Init();
  /* USER CODE BEGIN StartDefaultTask */
  /* Infinite loop */
  for(;;)
  {
		 HAL_GPIO_TogglePin( GPIOB, GPIO_PIN_12);
		 HAL_GPIO_TogglePin( GPIOE, GPIO_PIN_3);

	//	 HAL_UART_Transmit(&huart4, GUI_sum_mode,sizeof(GUI_sum_mode), 100);

    osDelay(50);
  }
  /* USER CODE END StartDefaultTask */
}

RTC_TimeTypeDef 	sTime = {0};
RTC_DateTypeDef 	sDate = {0};

void StartTask02(void const * argument)
{
  /* USER CODE BEGIN StartTask02 */
	/* Infinite loop */
	uint8_t Key_memo;
	uint16_t Dwin_mess;
	//	bool count_energy;
	Ready = true;   //Initial condition is STOP

	GUI_key0[7] = 0;
	HAL_UART_Transmit(&huart1, GUI_key0, sizeof(GUI_key0), 100);
	GUI_key1[7] = 0;
	HAL_UART_Transmit(&huart1, GUI_key1, sizeof(GUI_key1), 100);
	GUI_key2[7] = 0;
	HAL_UART_Transmit(&huart1, GUI_key2, sizeof(GUI_key2), 100);
	GUI_key3[7] = 0;
	HAL_UART_Transmit(&huart1, GUI_key3, sizeof(GUI_key3), 100);

	while (1)
	{
		if (Rx_recv)   //DWIN string is get completely
		{
			Rx_recv = 0;   //confirmed Rx_rec
			GUI_boot = true;

			Dwin_mess = (Rx1_Buffer[4] << 8) + Rx1_Buffer[5];

			osDelay(2);  // Remove repeat chattering
			Rx_recv = 0;

			switch (Dwin_mess)
			{
			//Take VP from receive data

			case (0x0F):     // Check LCD power on?
				GUI_boot = true;
			break;

			case (0x0014): //Read no of page on work
				page = Rx1_Buffer[8];
			break;
//////////////////////////////////////////////////////////////

			case (0x1500):  // Password Key detection
				passwd[passwd_count] = 0;
				passwd_verify();
			break;

			case (0x1502):  // Password Key detection
				passwd[passwd_count] = 1;
				passwd_verify();
			break;

			case (0x1504):  // Password Key detection
				passwd[passwd_count] = 2;
				passwd_verify();
			break;

			case (0x1506):  // Password Key detection
				passwd[passwd_count] = 3;
				passwd_verify();
			break;

			case (0x1508):  // Password Key detection
				passwd[passwd_count] = 4;
				passwd_verify();
			break;

			case (0x1510):  // Password Key detection
				passwd[passwd_count] = 5;
				passwd_verify();
			break;

			case (0x1512):  // Password Key detection
				passwd[passwd_count] = 6;
				passwd_verify();
			break;

			case (0x1514):  // Password Key detection
				passwd[passwd_count] = 7;
				passwd_verify();
			break;

			case (0x1516):  // Password Key detection
				passwd[passwd_count] = 8;
				passwd_verify();
			break;

			case (0x1518):  // Password Key detection
				passwd[passwd_count] = 9;
				passwd_verify();
			break;

////////////////////////////////////////////////

			case (0x1400):  //STOP, READY  Variable GUI
				GUI_1400();
			break;

			case (0x1240):  //TONING Page switching
				Stamp = 0;
				DF_Play(S_toning); //Toning sound
				//  EEPROM_Read(Last_mode); //save current mode
				// // show_parameter_toning();
				//  show_ST_key_value();
				// // GUI_ready2stop();
			break;

			case (0x1250):  //STAMP page switching
				Stamp = 1;
				DF_Play(S_stamp);  //Stamp
				//  EEPROM_Read(Last_mode);  //save current mode
				// show_parameter_stamp();
				//  show_ST_key_value();
				// // GUI_ready2stop();
			break;

			// ===  Jump to Stamp mode from Monitor mode
			case (0x1296):
				GUI_1296();
			break;

			// ===  Move to Monitor mode
			case (0x1298):
				GUI_1298();
			break;

			// ===  Laser ON at Monitor mode
			case (0x1340):
				GUI_1340();
			break;

			// ===  Increament & decrement adjustment at Monitoring
			case (0x1345):
				GUI_1345();
			break;

			// === Time setup
			case (0x13AC):
					HAL_UART_Transmit(&huart1, RTC_read,sizeof(RTC_read), 100); //RTC READ, year-month-date-time-minute
			break;

			case (0x13A0):
				MX_RTC_Init();

				sDate.Year  =   ((Rx1_Buffer[8]/10) *16)  + (Rx1_Buffer[8]%10) ;
				sDate.Month =     Rx1_Buffer[12] ;
				sDate.Date  =   ((Rx1_Buffer[16]/10) *16) + (Rx1_Buffer[16]%10) ;
				 if (HAL_RTC_SetDate(&hrtc, &sDate, RTC_FORMAT_BCD) != HAL_OK)
				 {
				   Error_Handler();
				 }

					sTime.Hours   = ((Rx1_Buffer[20]/10) *16) + (Rx1_Buffer[20]%10) ;
					sTime.Minutes = ((Rx1_Buffer[24]/10) *16) + (Rx1_Buffer[24]%10) ;
					sTime.Seconds = ((Rx1_Buffer[28]/10) *16) + (Rx1_Buffer[28]%10) ;
				    if (HAL_RTC_SetTime(&hrtc, &sTime, RTC_FORMAT_BCD) != HAL_OK)
				    {
				      Error_Handler();
				    }
			break;

			///////////////////
			case (0x1300):  //  Increament & decrement adjustment at STAMP
			DF_Play(S_Beek);
			//  EEPROM_Write( Last_power_high, Rx1_Buffer[7]);
			//  EEPROM_Write( Last_power_low, Rx1_Buffer[8]);
			Power_DAC = (Rx1_Buffer[7] << 8) + Rx1_Buffer[8];  ///////
			// // GUI_ready2stop();
			break;

			case (0x1305):  // Increament & decrement adjustment at Toning
			DF_Play(S_Beek);
			//  EEPROM_Write( Last_power_high_t, Rx1_Buffer[7]);
			//  EEPROM_Write( Last_power_low_t, Rx1_Buffer[8]);
			Power_DAC_t = (Rx1_Buffer[7] << 8) + Rx1_Buffer[8];  ///////
			// // GUI_ready2stop();
			break;

			case (0x1614):  //save On_time value to eeprom
								//  EEPROM_Write( Last_on_time_high, Rx1_Buffer[7]);
			//  EEPROM_Write( Last_on_time_low, Rx1_Buffer[8]);
			On_Time = (Rx1_Buffer[7] << 8) + Rx1_Buffer[8]; ///////
			// // GUI_ready2stop();
			break;

			case (0x1615):  //save Off_time value to eeprom
								//  EEPROM_Write( Last_off_time_high, Rx1_Buffer[7]);
			//  EEPROM_Write( Last_off_time_low, Rx1_Buffer[8]);
			Off_Time = (Rx1_Buffer[7] << 8) + Rx1_Buffer[8]; ///////
			// // GUI_ready2stop();
			break;

			case (0x1260):  //Pulse value to eeprom
			//  EEPROM_Write( Last_pulse, Rx1_Buffer[8]);
			Pulse = Rx1_Buffer[8];  ///////
			// GUI_ready2stop();
			break;

			case (0x1605):  //Repeat value to eeprom
			//  EEPROM_Write( Last_repeat, Rx1_Buffer[8]);
			Repeat = Rx1_Buffer[8];
			// GUI_ready2stop();
			break;

			case (0x1280):  //Frequency value to eeprom
			//  EEPROM_Write( Last_frequency, Rx1_Buffer[8]);
			Freq = Rx1_Buffer[8];  ///////
			// GUI_ready2stop();
			break;

			case (0x1600):  //Total count value to eeprom
			//  EEPROM_Write( Last_tcount_high, Rx1_Buffer[7]);
			//  EEPROM_Write( Last_tcount_low, Rx1_Buffer[8]);
			break;

			case (0x1602):  //SOUND, MUTE Variable GUI
				GUI_1602();
			break;

			case (0x1603):  //FOOT, HAND Variable GUI
				GUI_1603();
			break;

			//======  Select Total counter & energy  ============
			case (0x1606):  //Select between Toggle counts and Energy
				GUI_1606();
			break;

			//======  Clear Total counter value     ============
			case (0x1608):  // Clear Total counter value
				Key_memo++;

				if (Key_memo == GUI_save_delay)
				{
					DF_Play(S_clear);   //sound 'clear'
					sum_count = 0;
					sum_count_t = 0;
					sum_energy = 0;
					sum_energy_t = 0;
					HAL_UART_Transmit(&huart1, GUI_sum_value,sizeof(GUI_sum_value), 100);
				}
			break;

			case (0x1609): // save last parameter to EEPROM, show value on S2 key
				if (Key_memo >= GUI_save_delay)
						;
				else
						;
				Key_memo = 0;
			break;

		default:
				;   // do nothing
			}  //end of switch
			//================== End of Memory process ======================

		}   //if Rx_recv is received, it will be work.

		osDelay(Delay_task02);
	}  //for(1) loop
  /* USER CODE END StartTask02 */
}

void StartTask03(void const * argument)
{
  /* USER CODE BEGIN StartTask03 */
	/* Infinite loop */
	static uint8_t Rx_len, Rx_indx, data, Rx4_indx;

	while (1)
	{
		//============= UART-4: Hand piece ==============
		if (isEmpty(&uart_4) == 0)
		{
			data = pop(&uart_4);

			if (data != 10)   // Line feed? new line
			{
				Rx4_Buffer[Rx4_indx++] = data;
			}
			else
			{
				Rx4_Buffer[0] = 0x30; // # -> 0 clear
				HP_lens = atoi(strtok(Rx4_Buffer, " ")); //Lens 1,2,3
				HP_Temp = atoi(strtok(NULL, " ")); //Temp. sensor data
				HP_Fire = atoi(strtok(NULL, " ")); //HP switch detect

				Rx4_indx = 0;   // HP data is received
			}   //else

			if (HP_Fire)
			{
				 HAL_GPIO_WritePin( GPIOC, GPIO_PIN_7,GPIO_PIN_RESET);
			}
			else
				 HAL_GPIO_WritePin( GPIOC, GPIO_PIN_7,GPIO_PIN_SET);

    	}  //if

		//============= UART-1: DWIN LCD ==============
		if (isEmpty(&uart_1) == 0)
		{  /////Ring buffer check and get all

			data = pop(&uart_1);

			if (data == 0x5A)
			{			//Find head of string 0x5A/90
				Rx1_Buffer[0] = data;
				Rx_recv = 0;
			}
			else if (data == 0xA5)
			{	//head of string  0xA5/165
				Rx1_Buffer[1] = data;
				Rx_len = 1;			//Ready to get length of string
			}

			else if (Rx_len == 1)
			{	//Is it a length of string
				Rx1_Buffer[2] = data;
				Rx_len = 0;
				Rx_indx = 3;
			}

			else
			{
				if (Rx1_Buffer[2] > Rx_indx)
					Rx1_Buffer[Rx_indx++] = data;
				else
				{
					Rx1_Buffer[Rx_indx++] = data; //already get length of string
					Rx_recv = 1;
				}

			} //else
		}
		osDelay(Delay_task03);
	} // While(1)
  /* USER CODE END StartTask03 */
}

void StartTask04(void const * argument)
{
  /* USER CODE BEGIN StartTask04 */
  /* Infinite loop */
  for(;;)
  {
	    ttt = (float)HP_Temp/10;
	//     HAL_UART_Transmit(&huart4,  HP_Temp ,sizeof(3), 100);
	 //   printf("Temp = %d \r\n", HP_Temp);
	    osDelay(200);
  }
  /* USER CODE END StartTask04 */
}

void StartTask05(void const * argument)
{
  /* USER CODE BEGIN StartTask05 */
  /* Infinite loop */
  for(;;)
  {
		RTC_CalendarShow(&sdatestructureget, &stimestructureget);
		/*
//		if (stimestructureget.Seconds % 2 == 1)
//			sprintf((char *)&text,"Time %02d:%02d:%02d",stimestructureget.Hours, stimestructureget.Minutes,stimestructureget.Seconds);
//		else
			sprintf((char *)&text,"Time %02d:%02d:%02d",stimestructureget.Hours, stimestructureget.Minutes,stimestructureget.Seconds);
		LCD_ShowString(4, 58, 160, 16, 16, text);

			sprintf((char *)&text, "Date 20%02d-%02d-%02d ",sdatestructureget.Year,sdatestructureget.Month, sdatestructureget.Date);
		LCD_ShowString(4, 40, 160, 16, 16, text);

		sprintf((char *)&text,"Tick: %d ms",HAL_GetTick());
		LCD_ShowString(4, 74, 160, 16, 16,text);
*/		osDelay(1000);
  }
  /* USER CODE END StartTask05 */
}

void StartTask06(void const * argument)
{
  /* USER CODE BEGIN StartTask06 */
  /* Infinite loop */
  for(;;)
  {

	  for(int k= 0;k<4095;k++){
	  	wdata[k] = 29;
	  }

	  W25qxx_EraseSector(0);
	  W25qxx_PageProgram(wdata, 3800, 300);
	  osDelay(100);
	  W25qxx_Read(rdata, 3800, 300);
	  osDelay(100);
/*	  for(int i =3800;i<4000;i += 10){
		  osDelay(1);
	   printf("i=%d  ",i);
	   osDelay(1);
	    printf("  Read=%d,%d,%d,%d,%d,%d,%d,%d,%d,%d \r\n",
	 	  rdata[i],rdata[i+1],rdata[i+2],rdata[i+3],rdata[i+4],rdata[i+5],rdata[i+6],rdata[i+7],rdata[i+8],rdata[i+9]);
   }

	  printf("\r\n");
 */   osDelay(2000);

  }
  /* USER CODE END StartTask06 */
}

void StartTask07(void const * argument)
{
  /* USER CODE BEGIN StartTask07 */
	/* Infinite loop */
	uint8_t first, second;

	//=============  Temperature  ===============
	for (;;)
	{   // HP temperature detection
		first = HP_Temp >> 8;
		second = HP_Temp & 0x00FF;
		GUI_temp[6] = first;  // Disp temperature and show it on LCD
		GUI_temp[7] = second;
		HAL_UART_Transmit(&huart1, GUI_temp, sizeof(GUI_temp), 100);

		//=============  Total energy & count value ===============
		if (Count_energy)
		{
			if (Stamp)
			{
				GUI_sum_value[6] =  (sum_count) >> 24;
				GUI_sum_value[7] =  ((sum_count) >> 16) & 0xFF;
				GUI_sum_value[8] =  ((sum_count) >> 8) & 0xFF;
				GUI_sum_value[9] =  (sum_count) & 0xFF;
				HAL_UART_Transmit(&huart1, GUI_sum_value, sizeof(GUI_sum_value),100);
			}
			else
			{
				GUI_sum_value[6] = (sum_count_t) >> 24;
				GUI_sum_value[7] = ((sum_count_t) >> 16) & 0xFF;
				GUI_sum_value[8] = ((sum_count_t) >> 8) & 0xFF;
				GUI_sum_value[9] = (sum_count_t) & 0xFF;
				HAL_UART_Transmit(&huart1, GUI_sum_value, sizeof(GUI_sum_value),100);
			}
		}
		else
		{
			if (Stamp)
			{
				GUI_sum_value[6] = (sum_energy/10) >> 24;
				GUI_sum_value[7] = ((sum_energy/10) >> 16) & 0xFF;
				GUI_sum_value[8] = ((sum_energy/10) >> 8) & 0xFF;
				GUI_sum_value[9] = (sum_energy/10) & 0xFF;
				HAL_UART_Transmit(&huart1, GUI_sum_value, sizeof(GUI_sum_value),100);
			}
			else
			{
				GUI_sum_value[6] = (sum_energy_t/10) >> 24;
				GUI_sum_value[7] = ((sum_energy_t/10) >> 16) & 0xFF;
				GUI_sum_value[8] = ((sum_energy_t/10) >> 8) & 0xFF;
				GUI_sum_value[9] = (sum_energy_t/10) & 0xFF;
				HAL_UART_Transmit(&huart1, GUI_sum_value, sizeof(GUI_sum_value),100);
			}
		}

		osDelay(Delay_task07);  //500ms
	}
  /* USER CODE END StartTask07 */
}

void StartTask08(void const * argument)
{
  /* USER CODE BEGIN StartTask08 */
  /* Infinite loop */
  for(;;)
  {
 	  printf( "Date 20%d-%d-%d\r\n",sdatestructureget.Year,sdatestructureget.Month, sdatestructureget.Date);
 	  osDelay(5);
	  printf( "Time %d:%d:%d\r\n",stimestructureget.Hours, stimestructureget.Minutes,stimestructureget.Seconds);
	  osDelay(5);
	  printf( "\n\r");

	  RTC_disp[6] = sdatestructureget.Year;
	  RTC_disp[7] = sdatestructureget.Month;
	  RTC_disp[8] = sdatestructureget.Date;
	  RTC_disp[9] = sdatestructureget.WeekDay;//    0x05; //stimestructureget.WeekDay;

	  RTC_disp[10] = stimestructureget.Hours;
	  RTC_disp[11] = stimestructureget.Minutes;
	  RTC_disp[12] = stimestructureget.Seconds;
	  HAL_UART_Transmit(&huart1, RTC_disp, sizeof(RTC_disp),100);
	 // HAL_UART_Transmit(&huart1, RTC_dial, sizeof(RTC_dial),100);

    osDelay(1000);
  }
  /* USER CODE END StartTask08 */
}

/* USER CODE BEGIN Application */
//=============== Ring buffer =====================

void push(uart_t *u, uint8_t data)
{
	u->buffer[u->head] = data;
	u->head++;
	if (u->head >= MAX_BUFFER_SIZE)
	{
		u->head = 0;
	}
}

uint8_t pop(uart_t *u)
{
	uint8_t data = u->buffer[u->tail];
	u->tail++;
	if (u->tail >= MAX_BUFFER_SIZE)
	{
		u->tail = 0;
	}
	return data;
}

uint8_t isEmpty(uart_t *u)
{
	return u->head == u->tail;
}

void HAL_UART_RxCpltCallback(UART_HandleTypeDef *huart)
{

	if (huart->Instance == USART1)
	{
		push(&uart_1, rx1_data);  //save data to Ring buffer
		HAL_UART_Receive_IT(&huart1, &rx1_data, 1);
	}

	if (huart->Instance == UART4)
	{
		push(&uart_4, rx4_data);  //save data to Ring buffer
		HAL_UART_Receive_IT(&huart4, &rx4_data, 1);
	}

}

/* USER CODE END Application */

/************************ (C) COPYRIGHT STMicroelectronics *****END OF FILE****/
